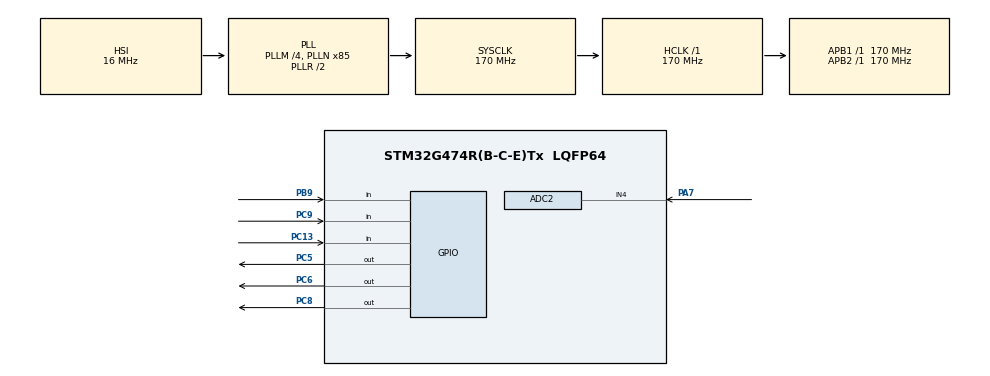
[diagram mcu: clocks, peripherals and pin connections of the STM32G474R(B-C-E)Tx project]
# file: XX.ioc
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ADC2.Channel-0\#ChannelRegularConversion=ADC_CHANNEL_4
ADC2.NbrOfConversionFlag=1
ADC2.OffsetNumber-0\#ChannelRegularConversion=ADC_OFFSET_NONE
ADC2.Rank-0\#ChannelRegularConversion=1
ADC2.SamplingTime-0\#ChannelRegularConversion=ADC_SAMPLETIME_640CYCLES_5
Mcu.Family=STM32G4
Mcu.Name=STM32G474R(B-C-E)Tx
Mcu.Package=LQFP64
NVIC.PriorityGroup=NVIC_PRIORITYGROUP_4
PA13.GPIO_Label=T_SWDIO
PA13.Signal=SYS_JTMS-SWDIO
PA14.GPIO_Label=T_SWCLK
PA14.Signal=SYS_JTCK-SWCLK
PA2.GPIO_Label=LPUART1_TX [STLINKV3E_VCP_RX]
PA2.Signal=LPUART1_TX
PA3.GPIO_Label=LPUART1_RX [STLINKV3E_VCP_TX]
PA3.Signal=LPUART1_RX
PA7.Mode=IN4-Single-Ended
PA7.Signal=ADC2_IN4
PB3.GPIO_Label=T_SWO
PB3.Signal=SYS_JTDO-SWO
PB9.GPIO_PuPd=GPIO_PULLUP
PB9.Signal=GPIO_Input
PC13.Signal=GPIO_Input
PC14-OSC32_IN.GPIO_Label=RCC_OSC32_IN
PC14-OSC32_IN.Signal=RCC_OSC32_IN
PC15-OSC32_OUT.GPIO_Label=RCC_OSC32_OUT
PC15-OSC32_OUT.Signal=RCC_OSC32_OUT
PC5.Signal=GPIO_Output
PC6.Signal=GPIO_Output
PC8.Signal=GPIO_Output
PC9.GPIO_PuPd=GPIO_PULLUP
PC9.Signal=GPIO_Input
PF0-OSC_IN.GPIO_Label=RCC_OSC_IN
PF0-OSC_IN.Signal=RCC_OSC_IN
PF1-OSC_OUT.GPIO_Label=RCC_OSC_OUT
PF1-OSC_OUT.Signal=RCC_OSC_OUT
ProjectManager.HeapSize=0x200
ProjectManager.StackSize=0x400
ProjectManager.TargetToolchain=STM32CubeIDE
RCC.ADC12Freq_Value=170000000
RCC.ADC345Freq_Value=170000000
RCC.AHBFreq_Value=170000000
RCC.APB1Freq_Value=170000000
RCC.APB1TimFreq_Value=170000000
RCC.APB2Freq_Value=170000000
RCC.APB2TimFreq_Value=170000000
RCC.CortexFreq_Value=170000000
RCC.EXTERNAL_CLOCK_VALUE=12288000
RCC.HCLKFreq_Value=170000000
RCC.HSE_VALUE=24000000
RCC.HSI48_VALUE=48000000
RCC.HSI_VALUE=16000000
RCC.LSE_VALUE=32768
RCC.PLLM=RCC_PLLM_DIV4
RCC.PLLN=85
RCC.RTCClockSelection=RCC_RTCCLKSOURCE_LSE
RCC.SYSCLKFreq_VALUE=170000000
RCC.SYSCLKSource=RCC_SYSCLKSOURCE_PLLCLK
RCC.USBFreq_Value=170000000
RCC.VCOOutputFreq_Value=340000000
VP_SYS_VS_DBSignals.Mode=DisableDeadBatterySignals
board=NUCLEO-G474RE

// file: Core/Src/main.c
/* USER CODE BEGIN Header */
/**
  ******************************************************************************
  * @file           : main.c
  * @brief          : Main program body
  ******************************************************************************
  * @attention
  *
  * Copyright (c) 2025 STMicroelectronics.
  * All rights reserved.
  *
  * This software is licensed under terms that can be found in the LICENSE file
  * in the root directory of this software component.
  * If no LICENSE file comes with this software, it is provided AS-IS.
  *
  ******************************************************************************
  */
/* USER CODE END Header */
#include "main.h"

/* USER CODE BEGIN Includes */
uint16_t value;
uint16_t value_V;
#define MaxVoltage_mV 3300
/* USER CODE END Includes */

ADC_HandleTypeDef hadc2;

/* USER CODE BEGIN PV */
void MeasureADC(void);
/* USER CODE END PV */

void SystemClock_Config(void);
static void MX_GPIO_Init(void);
static void MX_ADC2_Init(void);

int main(void)
{

  /* MCU Configuration--------------------------------------------------------*/

  /* Reset of all peripherals, Initializes the Flash interface and the Systick. */
  HAL_Init();

  /* Configure the system clock */
  SystemClock_Config();

  /* Initialize all configured peripherals */
  MX_GPIO_Init();
  MX_ADC2_Init();
  /* USER CODE BEGIN 2 */
HAL_ADCEx_Calibration_Start(&hadc2, ADC_SINGLE_ENDED);
MeasureADC();
  /* USER CODE END 2 */

  /* Infinite loop */
  /* USER CODE BEGIN WHILE */
  while (1)
  {

	  int buttonstate1=0;
	  int buttonstate2=0;
	  int buttonstate=0;

	  buttonstate =HAL_GPIO_ReadPin(GPIOC, GPIO_PIN_13);
	    /* -- Sample board code for User push-button in interrupt mode ---- */
	    if (buttonstate == 1)

	    {
	      /* Update button state */
	      /* -- Sample board code to toggle led ---- */

		  HAL_Delay(550);
		  HAL_GPIO_WritePin(GPIOC, GPIO_PIN_5,1);
		  //HAL_GPIO_WritePin(GPIOC, GPIO_PIN_8,1);
		  HAL_Delay(550);
		  HAL_GPIO_WritePin(GPIOC, GPIO_PIN_5,0);
		  //HAL_GPIO_WritePin(GPIOC, GPIO_PIN_8,0);

	      /* ..... Perform your action ..... */
	    }
	    else
	    {
	    	  HAL_GPIO_WritePin(GPIOC, GPIO_PIN_5,0);
	    	 //HAL_GPIO_WritePin(GPIOC, GPIO_PIN_8,0);

	    }

	  MeasureADC();

	  buttonstate1=HAL_GPIO_ReadPin(GPIOB, GPIO_PIN_9);
	  buttonstate2=HAL_GPIO_ReadPin(GPIOC, GPIO_PIN_9);

    /* -- Sample board code for User push-button in interrupt mode ---- */
    if (buttonstate1 == 0)
    {

     HAL_GPIO_WritePin(GPIOC, GPIO_PIN_8, 1);
     HAL_GPIO_WritePin(GPIOC, GPIO_PIN_6, 0);

      /* ..... Perform your action ..... */
    }

    if (buttonstate2 == 0)
        {

         HAL_GPIO_WritePin(GPIOC, GPIO_PIN_6, 1);
         HAL_GPIO_WritePin(GPIOC, GPIO_PIN_8, 0);

          /* ..... Perform your action ..... */
        }

    if (buttonstate2==1 && buttonstate1==1)
           {

            HAL_GPIO_WritePin(GPIOC, GPIO_PIN_6, 0);
            HAL_GPIO_WritePin(GPIOC, GPIO_PIN_8, 0);

             /* ..... Perform your action ..... */
           }

    if (buttonstate2==0 && buttonstate1==0)
              {

               HAL_GPIO_WritePin(GPIOC, GPIO_PIN_6, 0);
               HAL_GPIO_WritePin(GPIOC, GPIO_PIN_8, 0);

                /* ..... Perform your action ..... */
              }

    /* USER CODE END WHILE */

  }
}

void SystemClock_Config(void)
{
  RCC_OscInitTypeDef RCC_OscInitStruct = {0};
  RCC_ClkInitTypeDef RCC_ClkInitStruct = {0};

  /** Configure the main internal regulator output voltage
  */
  HAL_PWREx_ControlVoltageScaling(PWR_REGULATOR_VOLTAGE_SCALE1_BOOST);

  /** Initializes the RCC Oscillators according to the specified parameters
  * in the RCC_OscInitTypeDef structure.
  */
  RCC_OscInitStruct.OscillatorType = RCC_OSCILLATORTYPE_HSI;
  RCC_OscInitStruct.HSIState = RCC_HSI_ON;
  RCC_OscInitStruct.HSICalibrationValue = RCC_HSICALIBRATION_DEFAULT;
  RCC_OscInitStruct.PLL.PLLState = RCC_PLL_ON;
  RCC_OscInitStruct.PLL.PLLSource = RCC_PLLSOURCE_HSI;
  RCC_OscInitStruct.PLL.PLLM = RCC_PLLM_DIV4;
  RCC_OscInitStruct.PLL.PLLN = 85;
  RCC_OscInitStruct.PLL.PLLP = RCC_PLLP_DIV2;
  RCC_OscInitStruct.PLL.PLLQ = RCC_PLLQ_DIV2;
  RCC_OscInitStruct.PLL.PLLR = RCC_PLLR_DIV2;
  if (HAL_RCC_OscConfig(&RCC_OscInitStruct) != HAL_OK)
  {
    Error_Handler();
  }

  /** Initializes the CPU, AHB and APB buses clocks
  */
  RCC_ClkInitStruct.ClockType = RCC_CLOCKTYPE_HCLK|RCC_CLOCKTYPE_SYSCLK
                              |RCC_CLOCKTYPE_PCLK1|RCC_CLOCKTYPE_PCLK2;
  RCC_ClkInitStruct.SYSCLKSource = RCC_SYSCLKSOURCE_PLLCLK;
  RCC_ClkInitStruct.AHBCLKDivider = RCC_SYSCLK_DIV1;
  RCC_ClkInitStruct.APB1CLKDivider = RCC_HCLK_DIV1;
  RCC_ClkInitStruct.APB2CLKDivider = RCC_HCLK_DIV1;

  if (HAL_RCC_ClockConfig(&RCC_ClkInitStruct, FLASH_LATENCY_4) != HAL_OK)
  {
    Error_Handler();
  }
}

static void MX_ADC2_Init(void)
{

  ADC_ChannelConfTypeDef sConfig = {0};

  /** Common config
  */
  hadc2.Instance = ADC2;
  hadc2.Init.ClockPrescaler = ADC_CLOCK_SYNC_PCLK_DIV4;
  hadc2.Init.Resolution = ADC_RESOLUTION_12B;
  hadc2.Init.DataAlign = ADC_DATAALIGN_RIGHT;
  hadc2.Init.GainCompensation = 0;
  hadc2.Init.ScanConvMode = ADC_SCAN_DISABLE;
  hadc2.Init.EOCSelection = ADC_EOC_SINGLE_CONV;
  hadc2.Init.LowPowerAutoWait = DISABLE;
  hadc2.Init.ContinuousConvMode = DISABLE;
  hadc2.Init.NbrOfConversion = 1;
  hadc2.Init.DiscontinuousConvMode = DISABLE;
  hadc2.Init.ExternalTrigConv = ADC_SOFTWARE_START;
  hadc2.Init.ExternalTrigConvEdge = ADC_EXTERNALTRIGCONVEDGE_NONE;
  hadc2.Init.DMAContinuousRequests = DISABLE;
  hadc2.Init.Overrun = ADC_OVR_DATA_PRESERVED;
  hadc2.Init.OversamplingMode = DISABLE;
  if (HAL_ADC_Init(&hadc2) != HAL_OK)
  {
    Error_Handler();
  }

  /** Configure Regular Channel
  */
  sConfig.Channel = ADC_CHANNEL_4;
  sConfig.Rank = ADC_REGULAR_RANK_1;
  sConfig.SamplingTime = ADC_SAMPLETIME_640CYCLES_5;
  sConfig.SingleDiff = ADC_SINGLE_ENDED;
  sConfig.OffsetNumber = ADC_OFFSET_NONE;
  sConfig.Offset = 0;
  if (HAL_ADC_ConfigChannel(&hadc2, &sConfig) != HAL_OK)
  {
    Error_Handler();
  }

}

static void MX_GPIO_Init(void)
{
  GPIO_InitTypeDef GPIO_InitStruct = {0};

  /* GPIO Ports Clock Enable */
  __HAL_RCC_GPIOC_CLK_ENABLE();
  __HAL_RCC_GPIOF_CLK_ENABLE();
  __HAL_RCC_GPIOA_CLK_ENABLE();
  __HAL_RCC_GPIOB_CLK_ENABLE();

  /*Configure GPIO pin Output Level */
  HAL_GPIO_WritePin(GPIOC, GPIO_PIN_5|GPIO_PIN_6|GPIO_PIN_8, GPIO_PIN_RESET);

  /*Configure GPIO pin : PC13 */
  GPIO_InitStruct.Pin = GPIO_PIN_13;
  GPIO_InitStruct.Mode = GPIO_MODE_INPUT;
  GPIO_InitStruct.Pull = GPIO_NOPULL;
  HAL_GPIO_Init(GPIOC, &GPIO_InitStruct);

  /*Configure GPIO pins : LPUART1_TX_Pin LPUART1_RX_Pin */
  GPIO_InitStruct.Pin = LPUART1_TX_Pin|LPUART1_RX_Pin;
  GPIO_InitStruct.Mode = GPIO_MODE_AF_PP;
  GPIO_InitStruct.Pull = GPIO_NOPULL;
  GPIO_InitStruct.Speed = GPIO_SPEED_FREQ_LOW;
  GPIO_InitStruct.Alternate = GPIO_AF12_LPUART1;
  HAL_GPIO_Init(GPIOA, &GPIO_InitStruct);

  /*Configure GPIO pins : PC5 PC6 PC8 */
  GPIO_InitStruct.Pin = GPIO_PIN_5|GPIO_PIN_6|GPIO_PIN_8;
  GPIO_InitStruct.Mode = GPIO_MODE_OUTPUT_PP;
  GPIO_InitStruct.Pull = GPIO_NOPULL;
  GPIO_InitStruct.Speed = GPIO_SPEED_FREQ_LOW;
  HAL_GPIO_Init(GPIOC, &GPIO_InitStruct);

  /*Configure GPIO pin : PC9 */
  GPIO_InitStruct.Pin = GPIO_PIN_9;
  GPIO_InitStruct.Mode = GPIO_MODE_INPUT;
  GPIO_InitStruct.Pull = GPIO_PULLUP;
  HAL_GPIO_Init(GPIOC, &GPIO_InitStruct);

  /*Configure GPIO pin : PB9 */
  GPIO_InitStruct.Pin = GPIO_PIN_9;
  GPIO_InitStruct.Mode = GPIO_MODE_INPUT;
  GPIO_InitStruct.Pull = GPIO_PULLUP;
  HAL_GPIO_Init(GPIOB, &GPIO_InitStruct);

}

/* USER CODE BEGIN 4 */
void MeasureADC(void)
{
	HAL_ADC_Start(&hadc2);

			while(HAL_ADC_PollForConversion(&hadc2, HAL_MAX_DELAY)!=HAL_OK)
			{

			}
			value=HAL_ADC_GetValue(&hadc2);
			value_V=__HAL_ADC_CALC_DATA_TO_VOLTAGE(MaxVoltage_mV,value,ADC_RESOLUTION_12B);
}
/* USER CODE END 4 */

void Error_Handler(void)
{
  __disable_irq();
  while (1)
  {
  }
}
